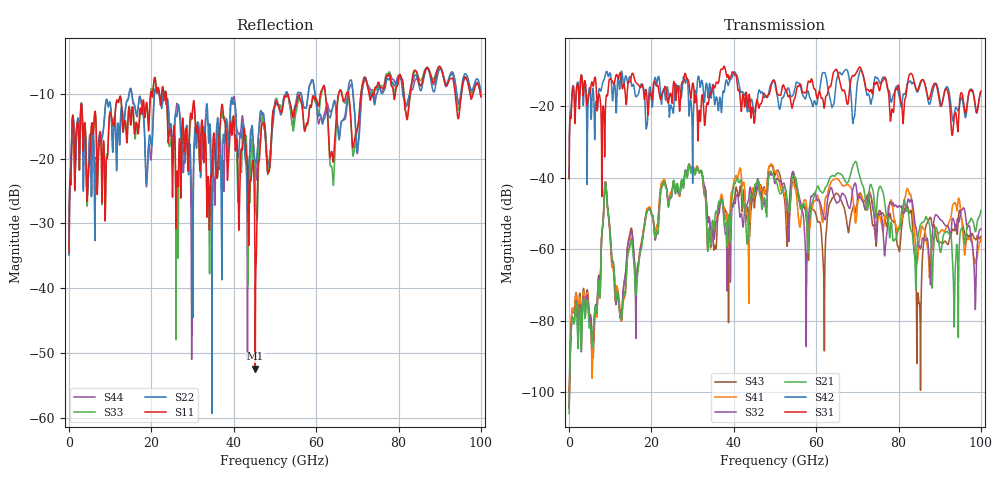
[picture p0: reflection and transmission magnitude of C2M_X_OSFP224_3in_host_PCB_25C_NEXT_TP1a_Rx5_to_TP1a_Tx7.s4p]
# GHz S RI R 45
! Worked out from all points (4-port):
!   4000 points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, 25 MHz to 100 GHz, reference 45 ohm
!   strongest paths, dB at 25 MHz, 25.02 GHz, 50.02 GHz, 75.03 GHz, 100 GHz:
!     S31: -40.3, -19.2, -13.2, -14.1, -15.8
!     S42: -40.1, -20.6, -13.9, -12.3, -15.9
!     S21: -106.0, -44.2, -40.8, -44.1, -49.2
!     S32: -104.5, -44.5, -41.6, -50.0, -54.3
!     S41: -98.7, -43.4, -38.4, -51.6, -57.0
!     S43: -104.5, -43.6, -39.2, -50.9, -56.5
!   lowest |S11| = -52.5 dB at 45.23 GHz (marker M1), VSWR 1.00, Z = 44.8 + j0.133 ohm
!   |S11| at or under -10 dB: start of sweep to 19.83 GHz; 23.63 GHz to 61.02 GHz (37.4 GHz wide, 88.4 % of centre); 62.22 GHz to 65.42 GHz (3.201 GHz wide, 5.02 % of centre) (the widest 3 of 15)
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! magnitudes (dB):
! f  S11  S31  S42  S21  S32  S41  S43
! 25 MHz  -34.5  -40.3  -40.1  -106.0  -104.5  -98.7  -104.5
! 6.35 GHz  -12.7  -11.9  -22.9  -76.3  -76.2  -76.8  -77.0
! 8.9 GHz  -24.3  -19.1  -10.8  -41.4  -41.3  -41.4  -41.4
! 12.6 GHz  -10.7  -11.5  -10.8  -79.6  -79.2  -78.7  -79.8
! 22.82 GHz  -9.0  -16.0  -15.7  -41.9  -41.7  -41.1  -40.9
! 45.23 GHz  -52.5  -22.1  -20.6  -41.8  -43.7  -43.0  -45.4
! 100 GHz  -10.4  -15.8  -15.9  -49.2  -54.3  -57.0  -56.5
